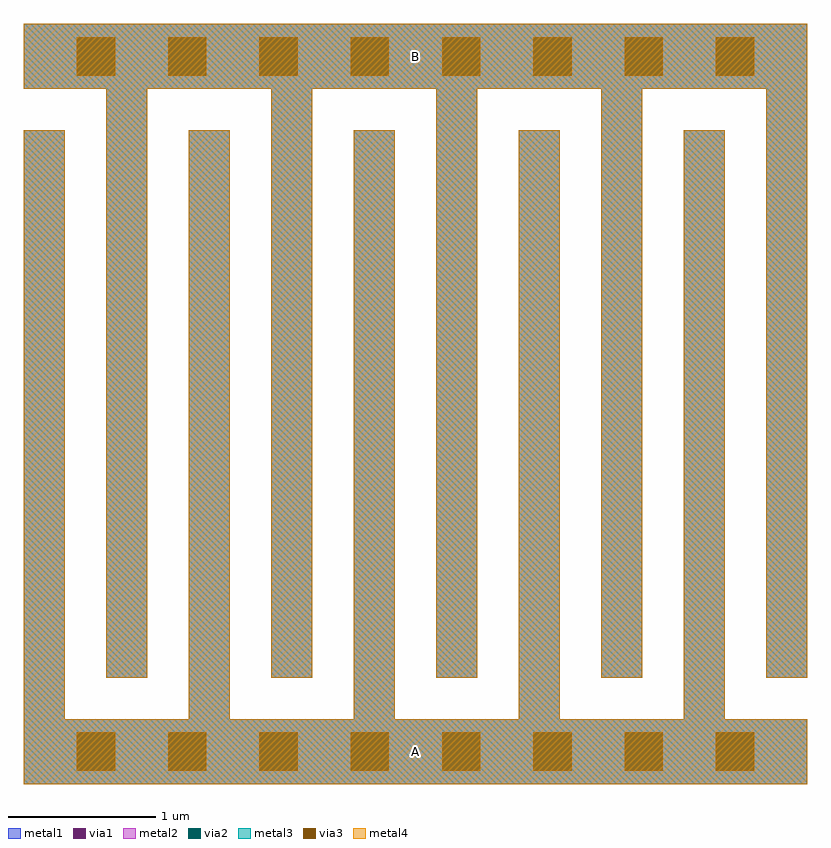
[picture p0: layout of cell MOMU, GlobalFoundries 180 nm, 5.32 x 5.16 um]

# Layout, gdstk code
import gdstk
lib = gdstk.Library(unit=1e-6, precision=1e-09)
def R(c, l, rs):  # rectangles x0, y0, x1, y1
    for r in rs: c.add(gdstk.rectangle(r[:2], r[2:], *l))
def A(c, l, x, y, w, h, nx, ny, dx, dy):  # array of equal rectangles
    R(c, l, [(x+i*dx, y+j*dy, x+i*dx+w, y+j*dy+h) for i in range(nx) for j in range(ny)])
metal1 = (34, 0)
via1 = (35, 0)
metal2 = (36, 0)
via2 = (38, 0)
via3 = (40, 0)
metal3 = (42, 0)
metal4 = (46, 0)

momu = lib.new_cell('MOMU')
A(momu, metal1, 0, 0.44, 0.28, 4, 5, 1, 1.12, 0)
A(momu, metal1, 0.56, 0.72, 0.28, 4, 5, 1, 1.12, 0)
R(momu, metal1, [(0,0,5.32,0.44), (0,4.72,5.32,5.16)])
A(momu, via1, 0.36, 0.09, 0.26, 0.26, 8, 2, 0.62, 4.72)
A(momu, metal2, 0, 0.44, 0.28, 4, 5, 1, 1.12, 0)
A(momu, metal2, 0.56, 0.72, 0.28, 4, 5, 1, 1.12, 0)
R(momu, metal2, [(0,0,5.32,0.44), (0,4.72,5.32,5.16)])
A(momu, via2, 0.36, 0.09, 0.26, 0.26, 8, 2, 0.62, 4.72)
A(momu, via3, 0.36, 0.09, 0.26, 0.26, 8, 2, 0.62, 4.72)
A(momu, metal3, 0, 0.44, 0.28, 4, 5, 1, 1.12, 0)
A(momu, metal3, 0.56, 0.72, 0.28, 4, 5, 1, 1.12, 0)
R(momu, metal3, [(0,0,5.32,0.44), (0,4.72,5.32,5.16)])
A(momu, metal4, 0, 0.44, 0.28, 4, 5, 1, 1.12, 0)
A(momu, metal4, 0.56, 0.72, 0.28, 4, 5, 1, 1.12, 0)
R(momu, metal4, [(0,0,5.32,0.44), (0,4.72,5.32,5.16)])
momu.add(gdstk.Label('A', (2.66,0.22), layer=34, texttype=10))
momu.add(gdstk.Label('B', (2.66,4.94), layer=34, texttype=10))
momu.add(gdstk.Label('A', (2.66,0.22), layer=36, texttype=10))
momu.add(gdstk.Label('B', (2.66,4.94), layer=36, texttype=10))
momu.add(gdstk.Label('A', (2.66,0.22), layer=42, texttype=10))
momu.add(gdstk.Label('B', (2.66,4.94), layer=42, texttype=10))
momu.add(gdstk.Label('A', (2.66,0.22), layer=46, texttype=10))
momu.add(gdstk.Label('B', (2.66,4.94), layer=46, texttype=10))

lib.write_gds('MOMU.gds')
